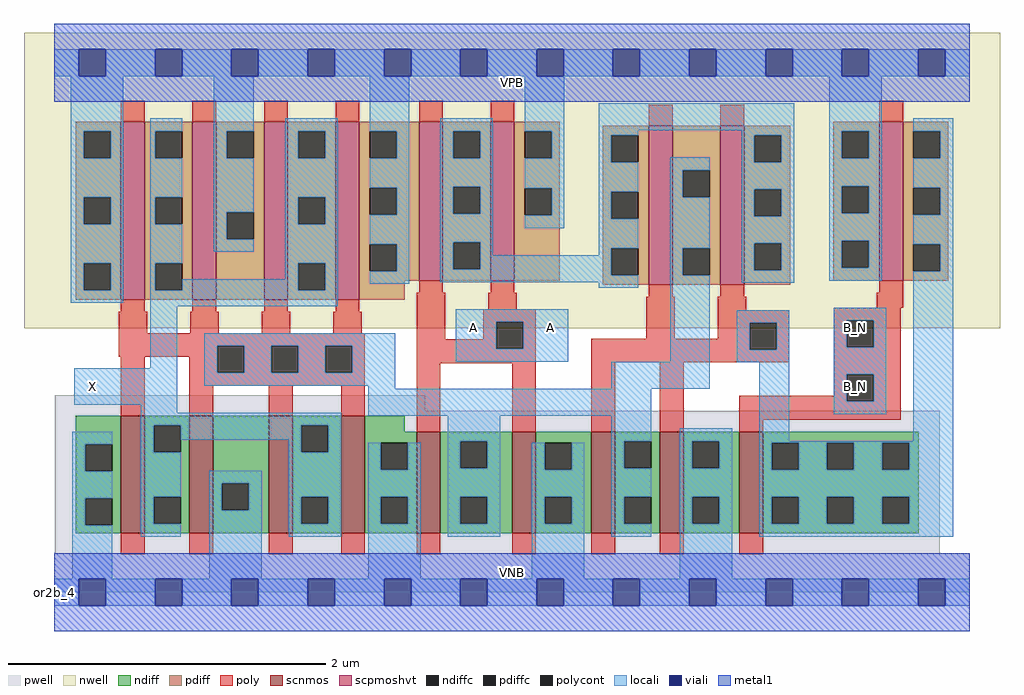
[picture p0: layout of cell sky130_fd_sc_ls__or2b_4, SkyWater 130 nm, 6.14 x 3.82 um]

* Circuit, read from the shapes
.subckt sky130_fd_sc_ls__or2b_4 A B_N VGND VNB VPB VPWR X
XM1 X n1 VGND VNB sky130_fd_pr__nfet_01v8 w=0.74 l=0.15 m=4
XM2 n1 A VGND VNB sky130_fd_pr__nfet_01v8 w=0.64 l=0.15 m=2
XM3 n1 n2 VGND VNB sky130_fd_pr__nfet_01v8 w=0.64 l=0.15 m=2
XM4 n2 B_N VGND VNB sky130_fd_pr__nfet_01v8 w=0.64 l=0.15
XM5 X n1 VPWR VPB sky130_fd_pr__pfet_01v8_hvt w=1.12 l=0.15 m=4
XM6 n3 A VPWR VPB sky130_fd_pr__pfet_01v8_hvt w=1 l=0.15 m=2
XM7 n1 n2 n3 VPB sky130_fd_pr__pfet_01v8_hvt w=1 l=0.15 m=2
XM8 n2 B_N VPWR VPB sky130_fd_pr__pfet_01v8_hvt w=1 l=0.15
.ends

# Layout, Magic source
magic
tech sky130A
magscale 1 2
<< nwell >>
rect -38 332 1190 704
<< pwell >>
rect 1 228 467 248
rect 1 49 1114 228
rect 0 0 1152 49
<< scnmos >>
rect 84 74 114 222
rect 170 74 200 222
rect 270 74 300 222
rect 361 74 391 222
rect 456 74 486 202
rect 576 74 606 202
rect 676 74 706 202
rect 762 74 792 202
rect 862 74 892 202
<< scpmoshvt >>
rect 84 368 114 592
rect 174 368 204 592
rect 264 368 294 592
rect 354 368 384 592
rect 459 392 489 592
rect 549 392 579 592
rect 748 387 778 587
rect 838 387 868 587
rect 1038 392 1068 592
<< ndiff >>
rect 27 186 84 222
rect 27 152 39 186
rect 73 152 84 186
rect 27 118 84 152
rect 27 84 39 118
rect 73 84 84 118
rect 27 74 84 84
rect 114 210 170 222
rect 114 176 125 210
rect 159 176 170 210
rect 114 120 170 176
rect 114 86 125 120
rect 159 86 170 120
rect 114 74 170 86
rect 200 137 270 222
rect 200 103 211 137
rect 245 103 270 137
rect 200 74 270 103
rect 300 210 361 222
rect 300 176 311 210
rect 345 176 361 210
rect 300 120 361 176
rect 300 86 311 120
rect 345 86 361 120
rect 300 74 361 86
rect 391 202 441 222
rect 391 188 456 202
rect 391 154 411 188
rect 445 154 456 188
rect 391 120 456 154
rect 391 86 411 120
rect 445 86 456 120
rect 391 74 456 86
rect 486 190 576 202
rect 486 156 511 190
rect 545 156 576 190
rect 486 120 576 156
rect 486 86 511 120
rect 545 86 576 120
rect 486 74 576 86
rect 606 188 676 202
rect 606 154 617 188
rect 651 154 676 188
rect 606 120 676 154
rect 606 86 617 120
rect 651 86 676 120
rect 606 74 676 86
rect 706 190 762 202
rect 706 156 717 190
rect 751 156 762 190
rect 706 120 762 156
rect 706 86 717 120
rect 751 86 762 120
rect 706 74 762 86
rect 792 190 862 202
rect 792 156 803 190
rect 837 156 862 190
rect 792 120 862 156
rect 792 86 803 120
rect 837 86 862 120
rect 792 74 862 86
rect 892 188 1088 202
rect 892 154 903 188
rect 937 154 972 188
rect 1006 154 1042 188
rect 1076 154 1088 188
rect 892 120 1088 154
rect 892 86 903 120
rect 937 86 972 120
rect 1006 86 1042 120
rect 1076 86 1088 120
rect 892 74 1088 86
<< pdiff >>
rect 27 580 84 592
rect 27 546 37 580
rect 71 546 84 580
rect 27 497 84 546
rect 27 463 37 497
rect 71 463 84 497
rect 27 414 84 463
rect 27 380 37 414
rect 71 380 84 414
rect 27 368 84 380
rect 114 580 174 592
rect 114 546 127 580
rect 161 546 174 580
rect 114 497 174 546
rect 114 463 127 497
rect 161 463 174 497
rect 114 414 174 463
rect 114 380 127 414
rect 161 380 174 414
rect 114 368 174 380
rect 204 580 264 592
rect 204 546 217 580
rect 251 546 264 580
rect 204 478 264 546
rect 204 444 217 478
rect 251 444 264 478
rect 204 368 264 444
rect 294 580 354 592
rect 294 546 307 580
rect 341 546 354 580
rect 294 497 354 546
rect 294 463 307 497
rect 341 463 354 497
rect 294 414 354 463
rect 294 380 307 414
rect 341 380 354 414
rect 294 368 354 380
rect 384 580 459 592
rect 384 546 397 580
rect 431 546 459 580
rect 384 509 459 546
rect 384 475 397 509
rect 431 475 459 509
rect 384 438 459 475
rect 384 404 397 438
rect 431 404 459 438
rect 384 392 459 404
rect 489 580 549 592
rect 489 546 502 580
rect 536 546 549 580
rect 489 510 549 546
rect 489 476 502 510
rect 536 476 549 510
rect 489 440 549 476
rect 489 406 502 440
rect 536 406 549 440
rect 489 392 549 406
rect 579 580 636 592
rect 579 546 592 580
rect 626 546 636 580
rect 579 508 636 546
rect 579 474 592 508
rect 626 474 636 508
rect 579 392 636 474
rect 690 575 748 587
rect 690 541 701 575
rect 735 541 748 575
rect 690 504 748 541
rect 690 470 701 504
rect 735 470 748 504
rect 690 433 748 470
rect 690 399 701 433
rect 735 399 748 433
rect 384 368 441 392
rect 690 387 748 399
rect 778 531 838 587
rect 778 497 791 531
rect 825 497 838 531
rect 778 433 838 497
rect 778 399 791 433
rect 825 399 838 433
rect 778 387 838 399
rect 868 575 926 587
rect 868 541 881 575
rect 915 541 926 575
rect 868 507 926 541
rect 868 473 881 507
rect 915 473 926 507
rect 868 439 926 473
rect 868 405 881 439
rect 915 405 926 439
rect 868 387 926 405
rect 980 580 1038 592
rect 980 546 991 580
rect 1025 546 1038 580
rect 980 511 1038 546
rect 980 477 991 511
rect 1025 477 1038 511
rect 980 442 1038 477
rect 980 408 991 442
rect 1025 408 1038 442
rect 980 392 1038 408
rect 1068 580 1125 592
rect 1068 546 1081 580
rect 1115 546 1125 580
rect 1068 509 1125 546
rect 1068 475 1081 509
rect 1115 475 1125 509
rect 1068 438 1125 475
rect 1068 404 1081 438
rect 1115 404 1125 438
rect 1068 392 1125 404
<< ndiffc >>
rect 39 152 73 186
rect 39 84 73 118
rect 125 176 159 210
rect 125 86 159 120
rect 211 103 245 137
rect 311 176 345 210
rect 311 86 345 120
rect 411 154 445 188
rect 411 86 445 120
rect 511 156 545 190
rect 511 86 545 120
rect 617 154 651 188
rect 617 86 651 120
rect 717 156 751 190
rect 717 86 751 120
rect 803 156 837 190
rect 803 86 837 120
rect 903 154 937 188
rect 972 154 1006 188
rect 1042 154 1076 188
rect 903 86 937 120
rect 972 86 1006 120
rect 1042 86 1076 120
<< pdiffc >>
rect 37 546 71 580
rect 37 463 71 497
rect 37 380 71 414
rect 127 546 161 580
rect 127 463 161 497
rect 127 380 161 414
rect 217 546 251 580
rect 217 444 251 478
rect 307 546 341 580
rect 307 463 341 497
rect 307 380 341 414
rect 397 546 431 580
rect 397 475 431 509
rect 397 404 431 438
rect 502 546 536 580
rect 502 476 536 510
rect 502 406 536 440
rect 592 546 626 580
rect 592 474 626 508
rect 701 541 735 575
rect 701 470 735 504
rect 701 399 735 433
rect 791 497 825 531
rect 791 399 825 433
rect 881 541 915 575
rect 881 473 915 507
rect 881 405 915 439
rect 991 546 1025 580
rect 991 477 1025 511
rect 991 408 1025 442
rect 1081 546 1115 580
rect 1081 475 1115 509
rect 1081 404 1115 438
<< poly >>
rect 84 592 114 618
rect 174 592 204 618
rect 264 592 294 618
rect 354 592 384 618
rect 459 592 489 618
rect 549 592 579 618
rect 748 587 778 613
rect 838 587 868 613
rect 1038 592 1068 618
rect 459 377 489 392
rect 549 377 579 392
rect 84 353 114 368
rect 174 353 204 368
rect 264 353 294 368
rect 354 353 384 368
rect 81 326 117 353
rect 171 326 207 353
rect 261 326 297 353
rect 351 326 387 353
rect 81 310 391 326
rect 81 296 205 310
rect 84 222 114 296
rect 170 276 205 296
rect 239 276 273 310
rect 307 276 341 310
rect 375 276 391 310
rect 170 260 391 276
rect 170 222 200 260
rect 270 222 300 260
rect 361 222 391 260
rect 456 318 492 377
rect 546 356 582 377
rect 748 372 778 387
rect 838 372 868 387
rect 1038 377 1068 392
rect 540 340 606 356
rect 540 318 556 340
rect 456 306 556 318
rect 590 306 606 340
rect 745 319 781 372
rect 835 355 871 372
rect 1035 358 1068 377
rect 835 339 925 355
rect 835 319 875 339
rect 456 288 606 306
rect 456 202 486 288
rect 576 202 606 288
rect 676 305 875 319
rect 909 305 925 339
rect 676 289 925 305
rect 981 342 1065 358
rect 981 308 997 342
rect 1031 308 1065 342
rect 676 202 706 289
rect 762 202 792 289
rect 981 274 1065 308
rect 981 247 997 274
rect 862 240 997 247
rect 1031 240 1065 274
rect 862 217 1065 240
rect 862 202 892 217
rect 84 48 114 74
rect 170 48 200 74
rect 270 48 300 74
rect 361 48 391 74
rect 456 48 486 74
rect 576 48 606 74
rect 676 48 706 74
rect 762 48 792 74
rect 862 48 892 74
<< polycont >>
rect 205 276 239 310
rect 273 276 307 310
rect 341 276 375 310
rect 556 306 590 340
rect 875 305 909 339
rect 997 308 1031 342
rect 997 240 1031 274
<< locali >>
rect 0 649 31 683
rect 65 649 127 683
rect 161 649 223 683
rect 257 649 319 683
rect 353 649 415 683
rect 449 649 511 683
rect 545 649 607 683
rect 641 649 703 683
rect 737 649 799 683
rect 833 649 895 683
rect 929 649 991 683
rect 1025 649 1087 683
rect 1121 649 1152 683
rect 21 580 87 649
rect 21 546 37 580
rect 71 546 87 580
rect 21 497 87 546
rect 21 463 37 497
rect 71 463 87 497
rect 21 414 87 463
rect 21 380 37 414
rect 71 380 87 414
rect 21 364 87 380
rect 121 580 161 596
rect 121 546 127 580
rect 121 497 161 546
rect 121 463 127 497
rect 121 414 161 463
rect 201 580 251 649
rect 201 546 217 580
rect 201 478 251 546
rect 201 444 217 478
rect 201 428 251 444
rect 291 580 357 596
rect 291 546 307 580
rect 341 546 357 580
rect 291 497 357 546
rect 291 463 307 497
rect 341 463 357 497
rect 121 380 127 414
rect 291 414 357 463
rect 291 394 307 414
rect 161 380 307 394
rect 341 380 357 414
rect 397 580 447 649
rect 431 546 447 580
rect 397 509 447 546
rect 431 475 447 509
rect 397 438 447 475
rect 431 404 447 438
rect 397 388 447 404
rect 486 580 552 596
rect 486 546 502 580
rect 536 546 552 580
rect 486 510 552 546
rect 486 476 502 510
rect 536 476 552 510
rect 486 440 552 476
rect 592 580 642 649
rect 626 546 642 580
rect 592 508 642 546
rect 626 474 642 508
rect 592 458 642 474
rect 685 581 931 615
rect 685 575 735 581
rect 685 541 701 575
rect 865 575 931 581
rect 685 504 735 541
rect 685 470 701 504
rect 486 406 502 440
rect 536 424 552 440
rect 685 433 735 470
rect 685 424 701 433
rect 536 406 701 424
rect 486 399 701 406
rect 486 390 735 399
rect 685 383 735 390
rect 775 531 825 547
rect 775 497 791 531
rect 775 433 825 497
rect 775 399 791 433
rect 121 360 357 380
rect 121 282 155 360
rect 505 340 647 356
rect 25 236 155 282
rect 189 310 429 326
rect 189 276 205 310
rect 239 276 273 310
rect 307 276 341 310
rect 375 276 429 310
rect 505 306 556 340
rect 590 306 647 340
rect 505 290 647 306
rect 775 290 825 399
rect 865 541 881 575
rect 915 541 931 575
rect 865 507 931 541
rect 865 473 881 507
rect 915 473 931 507
rect 865 439 931 473
rect 865 405 881 439
rect 915 405 931 439
rect 865 389 931 405
rect 975 580 1041 649
rect 975 546 991 580
rect 1025 546 1041 580
rect 975 511 1041 546
rect 975 477 991 511
rect 1025 477 1041 511
rect 975 442 1041 477
rect 975 408 991 442
rect 1025 408 1041 442
rect 975 392 1041 408
rect 1081 580 1131 596
rect 1115 546 1131 580
rect 1081 509 1131 546
rect 1115 475 1131 509
rect 1081 438 1131 475
rect 1115 404 1131 438
rect 189 260 429 276
rect 109 226 155 236
rect 395 256 429 260
rect 701 256 825 290
rect 859 339 925 355
rect 859 305 875 339
rect 909 305 925 339
rect 859 289 925 305
rect 109 210 361 226
rect 395 222 751 256
rect 23 186 73 202
rect 23 152 39 186
rect 23 118 73 152
rect 23 84 39 118
rect 23 17 73 84
rect 109 176 125 210
rect 159 192 311 210
rect 109 120 159 176
rect 295 176 311 192
rect 345 176 361 210
rect 495 190 561 222
rect 109 86 125 120
rect 109 70 159 86
rect 195 137 261 153
rect 195 103 211 137
rect 245 103 261 137
rect 195 17 261 103
rect 295 120 361 176
rect 295 86 311 120
rect 345 86 361 120
rect 295 70 361 86
rect 395 154 411 188
rect 445 154 461 188
rect 395 120 461 154
rect 395 86 411 120
rect 445 86 461 120
rect 395 17 461 86
rect 495 156 511 190
rect 545 156 561 190
rect 701 190 751 222
rect 495 120 561 156
rect 495 86 511 120
rect 545 86 561 120
rect 495 70 561 86
rect 601 154 617 188
rect 651 154 667 188
rect 601 120 667 154
rect 601 86 617 120
rect 651 86 667 120
rect 601 17 667 86
rect 701 156 717 190
rect 701 120 751 156
rect 701 86 717 120
rect 701 70 751 86
rect 787 190 853 206
rect 787 156 803 190
rect 837 156 853 190
rect 787 120 853 156
rect 787 86 803 120
rect 837 86 853 120
rect 787 17 853 86
rect 887 190 925 289
rect 981 342 1047 358
rect 981 308 997 342
rect 1031 308 1047 342
rect 981 274 1047 308
rect 981 240 997 274
rect 1031 240 1047 274
rect 981 224 1047 240
rect 1081 190 1131 404
rect 887 188 1131 190
rect 887 154 903 188
rect 937 154 972 188
rect 1006 154 1042 188
rect 1076 154 1131 188
rect 887 120 1131 154
rect 887 86 903 120
rect 937 86 972 120
rect 1006 86 1042 120
rect 1076 86 1131 120
rect 887 70 1131 86
rect 0 -17 31 17
rect 65 -17 127 17
rect 161 -17 223 17
rect 257 -17 319 17
rect 353 -17 415 17
rect 449 -17 511 17
rect 545 -17 607 17
rect 641 -17 703 17
rect 737 -17 799 17
rect 833 -17 895 17
rect 929 -17 991 17
rect 1025 -17 1087 17
rect 1121 -17 1152 17
<< viali >>
rect 31 649 65 683
rect 127 649 161 683
rect 223 649 257 683
rect 319 649 353 683
rect 415 649 449 683
rect 511 649 545 683
rect 607 649 641 683
rect 703 649 737 683
rect 799 649 833 683
rect 895 649 929 683
rect 991 649 1025 683
rect 1087 649 1121 683
rect 31 -17 65 17
rect 127 -17 161 17
rect 223 -17 257 17
rect 319 -17 353 17
rect 415 -17 449 17
rect 511 -17 545 17
rect 607 -17 641 17
rect 703 -17 737 17
rect 799 -17 833 17
rect 895 -17 929 17
rect 991 -17 1025 17
rect 1087 -17 1121 17
<< metal1 >>
rect 0 683 1152 715
rect 0 649 31 683
rect 65 649 127 683
rect 161 649 223 683
rect 257 649 319 683
rect 353 649 415 683
rect 449 649 511 683
rect 545 649 607 683
rect 641 649 703 683
rect 737 649 799 683
rect 833 649 895 683
rect 929 649 991 683
rect 1025 649 1087 683
rect 1121 649 1152 683
rect 0 617 1152 649
rect 0 17 1152 49
rect 0 -17 31 17
rect 65 -17 127 17
rect 161 -17 223 17
rect 257 -17 319 17
rect 353 -17 415 17
rect 449 -17 511 17
rect 545 -17 607 17
rect 641 -17 703 17
rect 737 -17 799 17
rect 833 -17 895 17
rect 929 -17 991 17
rect 1025 -17 1087 17
rect 1121 -17 1152 17
rect 0 -49 1152 -17
<< labels >>
rlabel comment s 0 0 0 0 4 or2b_4
flabel pwell s 0 0 1152 49 0 FreeSans 200 0 0 0 VNB
port 4 nsew ground bidirectional
flabel nwell s 0 617 1152 666 0 FreeSans 200 0 0 0 VPB
port 5 nsew power bidirectional
flabel metal1 s 0 617 1152 666 0 FreeSans 340 0 0 0 VPWR
port 6 nsew power bidirectional abutment
flabel metal1 s 0 0 1152 49 0 FreeSans 340 0 0 0 VGND
port 3 nsew ground bidirectional abutment
flabel locali s 511 316 545 350 0 FreeSans 340 0 0 0 A
port 1 nsew signal input
flabel locali s 607 316 641 350 0 FreeSans 340 0 0 0 A
port 1 nsew signal input
flabel locali s 991 242 1025 276 0 FreeSans 340 0 0 0 B_N
port 2 nsew signal input
flabel locali s 991 316 1025 350 0 FreeSans 340 0 0 0 B_N
port 2 nsew signal input
flabel locali s 31 242 65 276 0 FreeSans 340 0 0 0 X
port 7 nsew signal output
<< properties >>
string LEFsite unit
string LEFclass CORE
string FIXED_BBOX 0 0 1152 666
string GDS_FILE $PDKPATH/libs.ref/sky130_fd_sc_ls/gds/sky130_fd_sc_ls.gds
string LEFsymmetry X Y
string GDS_END 1753456
string GDS_START 1743290
<< end >>
